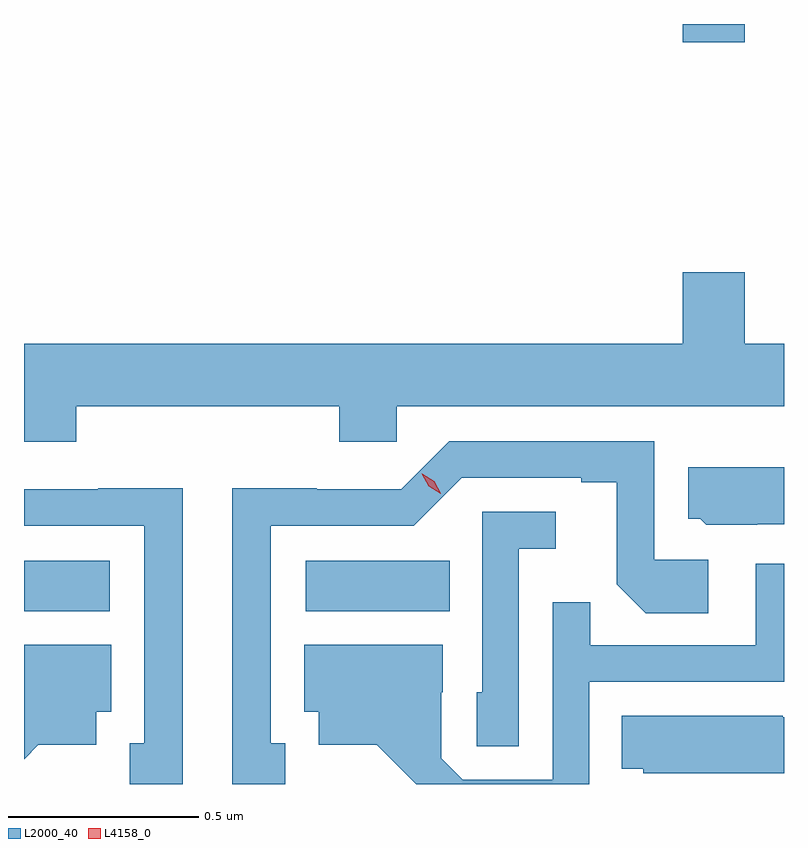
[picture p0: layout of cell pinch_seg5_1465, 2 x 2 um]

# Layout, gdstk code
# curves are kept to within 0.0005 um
import gdstk
lib = gdstk.Library(unit=1e-6, precision=1e-09)
def R(c, l, rs):  # rectangles x0, y0, x1, y1
    for r in rs: c.add(gdstk.rectangle(r[:2], r[2:], *l))
def P(c, l, *ps):  # polygons
    for p in ps: c.add(gdstk.Polygon(p, *l))
L2000_40 = (2000, 40)
L4158_0 = (4158, 0)

pinch_seg5_1465 = lib.new_cell('pinch_seg5_1465')
R(pinch_seg5_1465, L2000_40, [(127.311,904.172,127.537,904.306), (128.052,904.172,128.432,904.306), (129.044,905.67,129.208,905.718)])
P(pinch_seg5_1465, L2000_40, [(127.448,904.712),(128.141,904.712),(128.141,904.619),(128.292,904.619),(128.292,904.712),(129.311,904.712),(129.311,904.876),(129.208,904.876),(129.208,905.065),(129.044,905.065),(129.044,904.876),(127.311,904.876),(127.311,904.619),(127.448,904.619)],
  [(127.999,903.825),(127.96,903.825),(127.96,904.398),(128.337,904.398),(128.463,904.524),(128.777,904.524),(128.777,904.512),(128.871,904.512),(128.871,904.244),(128.947,904.168),(129.112,904.168),(129.112,904.308),(128.97,904.308),(128.97,904.62),(128.43,904.62),(128.304,904.494),(128.082,904.494),(128.082,904.496),(127.859,904.496),(127.859,903.718),(127.999,903.718)],
  [(129.24,904.401),(129.311,904.401),(129.311,904.552),(129.059,904.552),(129.059,904.416),(129.09,904.416),(129.106,904.4),(129.24,904.4)],
  [(127.729,904.496),(127.506,904.496),(127.506,904.494),(127.311,904.494),(127.311,904.398),(127.628,904.398),(127.628,903.825),(127.589,903.825),(127.589,903.718),(127.729,903.718)],
  [(128.613,904.337),(128.71,904.337),(128.71,904.434),(128.517,904.434),(128.517,903.96),(128.502,903.96),(128.502,903.817),(128.613,903.817)],
  [(128.799,903.987),(129.311,903.987),(129.311,904.297),(129.237,904.297),(129.237,904.083),(128.801,904.083),(128.801,904.196),(128.703,904.196),(128.703,903.729),(128.466,903.729),(128.409,903.786),(128.409,903.96),(128.413,903.96),(128.413,904.084),(128.048,904.084),(128.048,903.908),(128.087,903.908),(128.087,903.821),(128.239,903.821),(128.343,903.718),(128.799,903.718)],
  [(127.349,903.821),(127.501,903.821),(127.501,903.908),(127.54,903.908),(127.54,904.084),(127.311,904.084),(127.311,903.783)],
  [(129.311,903.894),(129.308,903.894),(129.308,903.898),(128.884,903.898),(128.884,903.758),(128.94,903.758),(128.94,903.746),(129.311,903.746)])
P(pinch_seg5_1465, L4158_0, [(128.408,904.482),(128.376,904.501),(128.358,904.534),(128.358,904.534),(128.359,904.534),(128.391,904.515),(128.408,904.483),(128.408,904.482)])

lib.write_gds('pinch_seg5_1465.gds')
